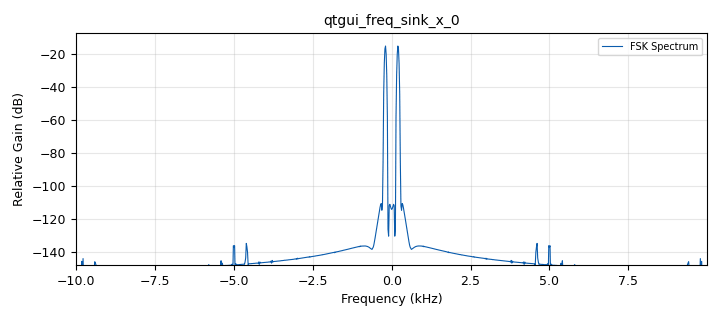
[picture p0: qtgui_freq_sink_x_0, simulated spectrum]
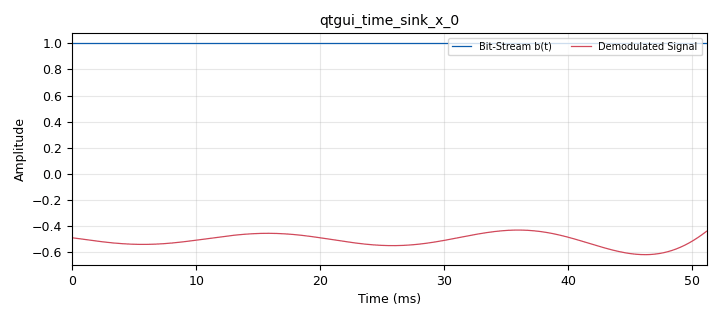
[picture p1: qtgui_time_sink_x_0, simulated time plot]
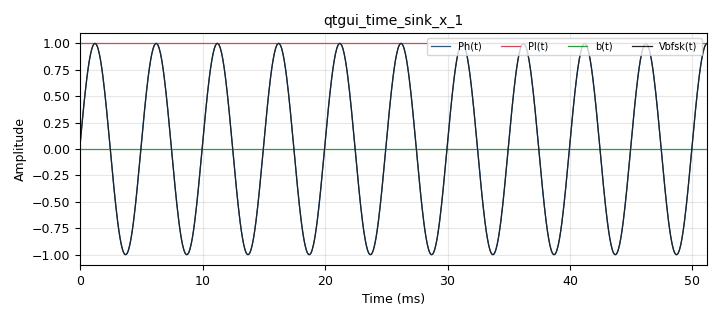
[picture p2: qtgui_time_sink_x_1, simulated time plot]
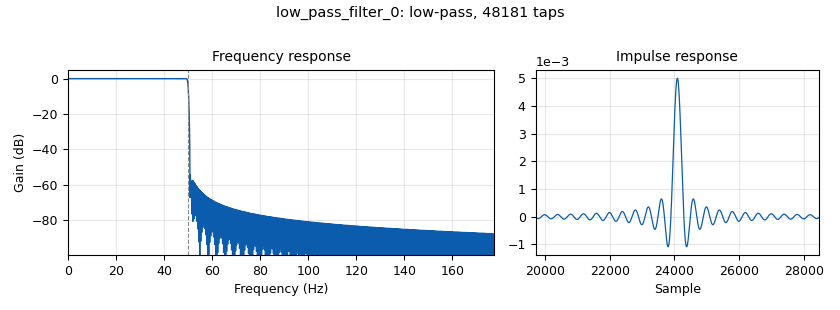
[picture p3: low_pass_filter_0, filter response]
options:
  parameters:
    generate_options: qt_gui
    id: FSK
    output_language: python
    title: Not titled yet
  states: {}

blocks:
- name: samp_rate
  id: variable
  parameters:
    value: '20000'
  states: {}
- name: analog_sig_source_x_0
  id: analog_sig_source_x
  parameters:
    amp: '1'
    freq: '5'
    offset: '0'
    phase: '0'
    samp_rate: samp_rate
    type: float
    waveform: analog.GR_SQR_WAVE
  states: {}
- name: analog_sig_source_x_1
  id: analog_sig_source_x
  parameters:
    amp: '1'
    freq: '100'
    offset: '0'
    phase: '0'
    samp_rate: samp_rate
    type: float
    waveform: analog.GR_COS_WAVE
  states: {}
- name: analog_sig_source_x_2
  id: analog_sig_source_x
  parameters:
    amp: '1'
    freq: '200'
    offset: '0'
    phase: '0'
    samp_rate: samp_rate
    type: float
    waveform: analog.GR_COS_WAVE
  states: {}
- name: analog_sig_source_x_3
  id: analog_sig_source_x
  parameters:
    amp: '1'
    freq: '100'
    offset: '0'
    phase: '0'
    samp_rate: samp_rate
    type: float
    waveform: analog.GR_COS_WAVE
  states: {}
- name: analog_sig_source_x_4
  id: analog_sig_source_x
  parameters:
    amp: '1'
    freq: '200'
    offset: '0'
    phase: '0'
    samp_rate: samp_rate
    type: float
    waveform: analog.GR_COS_WAVE
  states: {}
- name: blocks_add_const_vxx_0
  id: blocks_add_const_vxx
  parameters:
    const: '0'
    type: float
  states: {}
- name: blocks_add_const_vxx_1
  id: blocks_add_const_vxx
  parameters:
    const: '-1'
    type: float
  states: {}
- name: blocks_add_xx_0
  id: blocks_add_xx
  parameters:
    type: float
  states: {}
- name: blocks_add_xx_1
  id: blocks_add_xx
  parameters:
    type: float
  states: {}
- name: blocks_multiply_const_vxx_0
  id: blocks_multiply_const_vxx
  parameters:
    const: '1'
    type: float
  states: {}
- name: blocks_multiply_const_vxx_1
  id: blocks_multiply_const_vxx
  parameters:
    const: '-1'
    type: float
  states: {}
- name: blocks_multiply_const_vxx_2
  id: blocks_multiply_const_vxx
  parameters:
    const: '1'
    type: float
  states: {}
- name: blocks_multiply_const_vxx_2_0
  id: blocks_multiply_const_vxx
  parameters:
    const: '-1'
    type: float
  states: {}
- name: blocks_multiply_xx_0
  id: blocks_multiply_xx
  parameters:
    type: float
  states: {}
- name: blocks_multiply_xx_1
  id: blocks_multiply_xx
  parameters:
    type: float
  states: {}
- name: blocks_multiply_xx_2
  id: blocks_multiply_xx
  parameters:
    type: float
  states: {}
- name: blocks_multiply_xx_3
  id: blocks_multiply_xx
  parameters:
    type: float
  states: {}
- name: low_pass_filter_0
  id: low_pass_filter
  parameters:
    cutoff_freq: '50'
    decim: '1'
    gain: '1'
    samp_rate: samp_rate
    type: fir_filter_fff
    width: '1'
    win: firdes.WIN_HAMMING
  states: {}
- name: low_pass_filter_1
  id: low_pass_filter
  parameters:
    cutoff_freq: '50'
    decim: '1'
    gain: '1'
    samp_rate: samp_rate
    type: fir_filter_fff
    width: '1'
    win: firdes.WIN_HAMMING
  states: {}
- name: qtgui_freq_sink_x_0
  id: qtgui_freq_sink_x
  parameters:
    autoscale: 'True'
    bw: samp_rate
    ctrlpanel: 'True'
    fc: '0'
    fftsize: '1024'
    grid: 'True'
    label1: FSK Spectrum
    type: float
    wintype: firdes.WIN_BLACKMAN_hARRIS
  states: {}
- name: qtgui_time_sink_x_0
  id: qtgui_time_sink_x
  parameters:
    autoscale: 'True'
    ctrlpanel: 'True'
    grid: 'True'
    label1: Bit-Stream b(t)
    label2: Demodulated Signal
    nconnections: '2'
    size: '1024'
    srate: samp_rate
    type: float
  states: {}
- name: qtgui_time_sink_x_1
  id: qtgui_time_sink_x
  parameters:
    autoscale: 'True'
    ctrlpanel: 'True'
    grid: 'True'
    label1: Ph(t)
    label2: Pl(t)
    label3: b(t)
    label4: Vbfsk(t)
    nconnections: '4'
    size: '1024'
    srate: samp_rate
    type: float
  states: {}

connections:
- [analog_sig_source_x_0, '0', blocks_add_const_vxx_0, '0']
- [analog_sig_source_x_0, '0', blocks_add_const_vxx_1, '0']
- [analog_sig_source_x_0, '0', qtgui_time_sink_x_0, '0']
- [analog_sig_source_x_1, '0', blocks_multiply_xx_1, '0']
- [analog_sig_source_x_2, '0', blocks_multiply_xx_0, '0']
- [analog_sig_source_x_3, '0', blocks_multiply_xx_2, '1']
- [analog_sig_source_x_4, '0', blocks_multiply_xx_3, '1']
- [blocks_add_const_vxx_0, '0', blocks_multiply_const_vxx_0, '0']
- [blocks_add_const_vxx_1, '0', blocks_multiply_const_vxx_1, '0']
- [blocks_add_xx_0, '0', blocks_multiply_xx_2, '0']
- [blocks_add_xx_0, '0', blocks_multiply_xx_3, '0']
- [blocks_add_xx_0, '0', qtgui_freq_sink_x_0, '0']
- [blocks_add_xx_0, '0', qtgui_time_sink_x_1, '0']
- [blocks_add_xx_1, '0', qtgui_time_sink_x_0, '1']
- [blocks_multiply_const_vxx_0, '0', blocks_multiply_xx_0, '1']
- [blocks_multiply_const_vxx_0, '0', qtgui_time_sink_x_1, '1']
- [blocks_multiply_const_vxx_1, '0', blocks_multiply_xx_1, '1']
- [blocks_multiply_const_vxx_1, '0', qtgui_time_sink_x_1, '2']
- [blocks_multiply_const_vxx_2, '0', blocks_add_xx_1, '0']
- [blocks_multiply_const_vxx_2_0, '0', blocks_add_xx_1, '1']
- [blocks_multiply_xx_0, '0', blocks_add_xx_0, '0']
- [blocks_multiply_xx_0, '0', qtgui_time_sink_x_1, '3']
- [blocks_multiply_xx_1, '0', blocks_add_xx_0, '1']
- [blocks_multiply_xx_2, '0', low_pass_filter_0, '0']
- [blocks_multiply_xx_3, '0', low_pass_filter_1, '0']
- [low_pass_filter_0, '0', blocks_multiply_const_vxx_2, '0']
- [low_pass_filter_1, '0', blocks_multiply_const_vxx_2_0, '0']

metadata:
  file_format: 1
